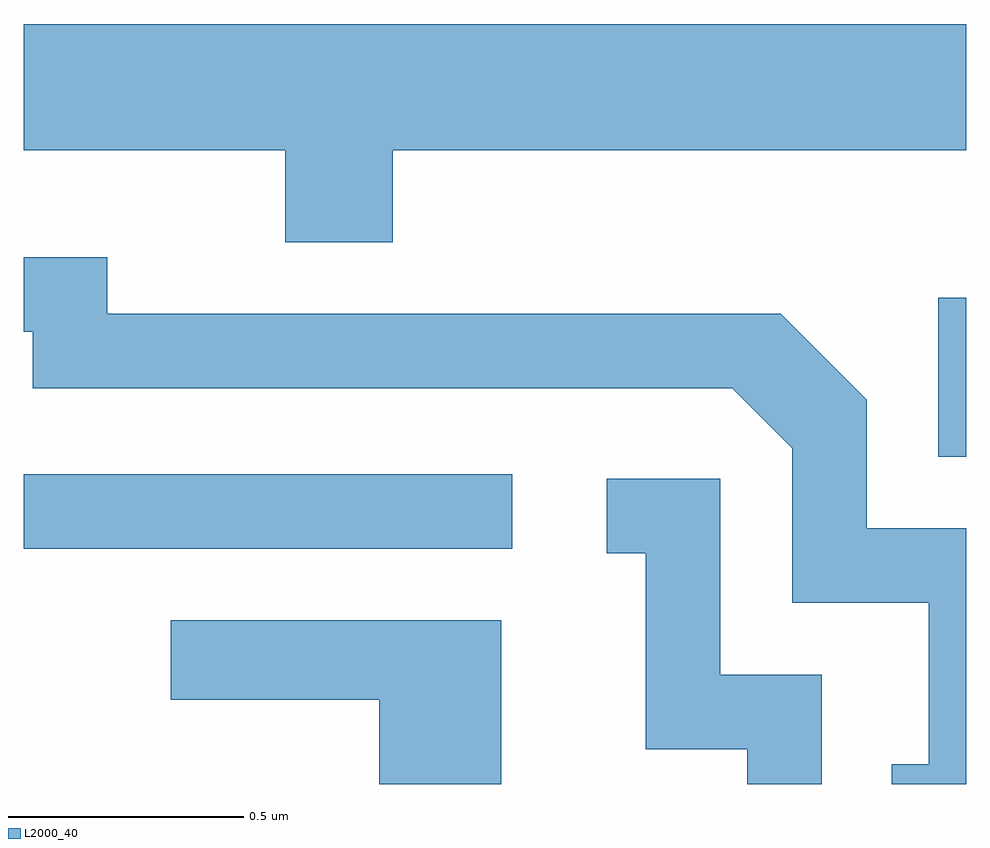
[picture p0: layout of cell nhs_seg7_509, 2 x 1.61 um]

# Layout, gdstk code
import gdstk
lib = gdstk.Library(unit=1e-6, precision=1e-09)
def R(c, l, rs):  # rectangles x0, y0, x1, y1
    for r in rs: c.add(gdstk.rectangle(r[:2], r[2:], *l))
def P(c, l, *ps):  # polygons
    for p in ps: c.add(gdstk.Polygon(p, *l))
L2000_40 = (2000, 40)

nhs_seg7_509 = lib.new_cell('nhs_seg7_509')
R(nhs_seg7_509, L2000_40, [(188.611,1766.751,189.648,1766.909), (190.551,1766.946,190.611,1767.283)])
P(nhs_seg7_509, L2000_40, [(189.394,1767.596),(190.611,1767.596),(190.611,1767.864),(188.611,1767.864),(188.611,1767.596),(189.166,1767.596),(189.166,1767.401),(189.394,1767.401)],
  [(190.611,1766.794),(190.399,1766.794),(190.399,1767.067),(190.217,1767.249),(188.789,1767.249),(188.789,1767.369),(188.611,1767.369),(188.611,1767.211),(188.631,1767.211),(188.631,1767.091),(190.114,1767.091),(190.241,1766.964),(190.241,1766.636),(190.531,1766.636),(190.531,1766.294),(190.453,1766.294),(190.453,1766.252),(190.611,1766.252)],
  [(190.304,1766.484),(190.089,1766.484),(190.089,1766.899),(189.848,1766.899),(189.848,1766.741),(189.931,1766.741),(189.931,1766.326),(190.146,1766.326),(190.146,1766.252),(190.304,1766.252)],
  [(189.624,1766.599),(188.923,1766.599),(188.923,1766.431),(189.366,1766.431),(189.366,1766.252),(189.624,1766.252)])

lib.write_gds('nhs_seg7_509.gds')
